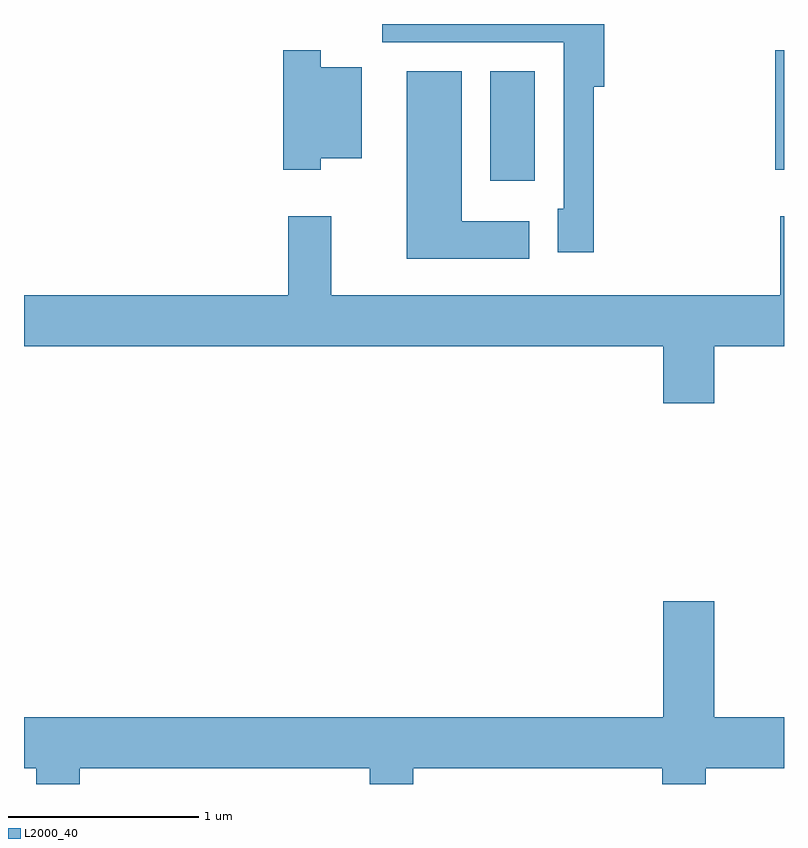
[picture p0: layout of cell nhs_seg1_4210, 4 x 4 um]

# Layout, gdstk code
import gdstk
lib = gdstk.Library(unit=1e-6, precision=1e-09)
def R(c, l, rs):  # rectangles x0, y0, x1, y1
    for r in rs: c.add(gdstk.rectangle(r[:2], r[2:], *l))
def P(c, l, *ps):  # polygons
    for p in ps: c.add(gdstk.Polygon(p, *l))
L2000_40 = (2000, 40)

nhs_seg1_4210 = lib.new_cell('nhs_seg1_4210')
R(nhs_seg1_4210, L2000_40, [(314.066,904.886,314.299,905.464), (315.566,904.946,315.611,905.574)])
P(nhs_seg1_4210, L2000_40, [(314.609,905.381),(314.664,905.381),(314.664,905.712),(313.496,905.712),(313.496,905.616),(314.451,905.616),(314.451,904.739),(314.421,904.739),(314.421,904.511),(314.609,904.511)],
  [(313.174,905.006),(313.389,905.006),(313.389,905.484),(313.174,905.484),(313.174,905.574),(312.976,905.574),(312.976,904.946),(313.174,904.946)],
  [(314.269,904.674),(313.914,904.674),(313.914,905.464),(313.626,905.464),(313.626,904.476),(314.269,904.476)],
  [(315.244,904.016),(315.611,904.016),(315.611,904.699),(315.591,904.699),(315.591,904.284),(313.229,904.284),(313.229,904.699),(313.001,904.699),(313.001,904.284),(311.611,904.284),(311.611,904.016),(314.976,904.016),(314.976,903.716),(315.244,903.716)],
  [(311.904,901.796),(313.431,901.796),(313.431,901.712),(313.659,901.712),(313.659,901.796),(314.971,901.796),(314.971,901.712),(315.199,901.712),(315.199,901.796),(315.611,901.796),(315.611,902.064),(315.244,902.064),(315.244,902.674),(314.976,902.674),(314.976,902.064),(311.611,902.064),(311.611,901.796),(311.676,901.796),(311.676,901.712),(311.904,901.712)])

lib.write_gds('nhs_seg1_4210.gds')
